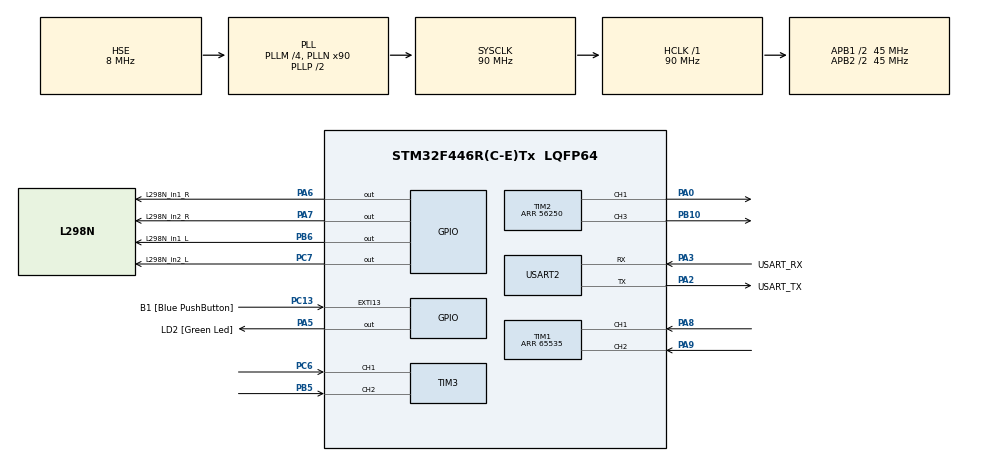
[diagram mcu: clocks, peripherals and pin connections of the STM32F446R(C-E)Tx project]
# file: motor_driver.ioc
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Mcu.Family=STM32F4
Mcu.Name=STM32F446R(C-E)Tx
Mcu.Package=LQFP64
NVIC.EXTI15_10_IRQn=true\:0\:0\:false\:false\:true\:true\:true\:true
NVIC.PriorityGroup=NVIC_PRIORITYGROUP_0
NVIC.TIM6_DAC_IRQn=true\:0\:0\:false\:false\:true\:true\:true\:true
NVIC.USART2_IRQn=true\:0\:0\:false\:false\:true\:true\:true\:true
PA0-WKUP.Signal=S_TIM2_CH1_ETR
PA13.GPIO_Label=TMS
PA13.Mode=Serial_Wire
PA13.Signal=SYS_JTMS-SWDIO
PA14.GPIO_Label=TCK
PA14.Mode=Serial_Wire
PA14.Signal=SYS_JTCK-SWCLK
PA2.GPIO_Label=USART_TX
PA2.Mode=Asynchronous
PA2.Signal=USART2_TX
PA3.GPIO_Label=USART_RX
PA3.Mode=Asynchronous
PA3.Signal=USART2_RX
PA5.GPIO_Label=LD2 [Green Led]
PA5.Signal=GPIO_Output
PA6.GPIO_Label=L298N_in1_R
PA6.PinState=GPIO_PIN_SET
PA6.Signal=GPIO_Output
PA7.GPIO_Label=L298N_in2_R
PA7.Signal=GPIO_Output
PA8.Signal=S_TIM1_CH1
PA9.Signal=S_TIM1_CH2
PB10.Signal=S_TIM2_CH3
PB3.GPIO_Label=SWO
PB3.Signal=SYS_JTDO-SWO
PB5.Signal=S_TIM3_CH2
PB6.GPIO_Label=L298N_in1_L
PB6.PinState=GPIO_PIN_SET
PB6.Signal=GPIO_Output
PC13.GPIO_Label=B1 [Blue PushButton]
PC13.GPIO_ModeDefaultEXTI=GPIO_MODE_IT_FALLING
PC13.Signal=GPXTI13
PC14-OSC32_IN.Mode=LSE-External-Oscillator
PC14-OSC32_IN.Signal=RCC_OSC32_IN
PC15-OSC32_OUT.Mode=LSE-External-Oscillator
PC15-OSC32_OUT.Signal=RCC_OSC32_OUT
PC6.Signal=S_TIM3_CH1
PC7.GPIO_Label=L298N_in2_L
PC7.Signal=GPIO_Output
PH0-OSC_IN.Mode=HSE-External-Oscillator
PH0-OSC_IN.Signal=RCC_OSC_IN
PH1-OSC_OUT.Mode=HSE-External-Oscillator
PH1-OSC_OUT.Signal=RCC_OSC_OUT
ProjectManager.HeapSize=0x200
ProjectManager.StackSize=0x400
ProjectManager.TargetToolchain=STM32CubeIDE
RCC.48MHZClocksFreq_Value=84000000
RCC.AHBFreq_Value=90000000
RCC.APB1CLKDivider=RCC_HCLK_DIV2
RCC.APB1Freq_Value=45000000
RCC.APB1TimFreq_Value=90000000
RCC.APB2CLKDivider=RCC_HCLK_DIV2
RCC.APB2Freq_Value=45000000
RCC.APB2TimFreq_Value=90000000
RCC.CortexFreq_Value=90000000
RCC.FLatency-AdvancedSettings=FLASH_LATENCY_2
RCC.HCLKFreq_Value=90000000
RCC.HSE_VALUE=8000000
RCC.HSI_VALUE=16000000
RCC.PLLM=4
RCC.PLLN=90
RCC.PLLSourceVirtual=RCC_PLLSOURCE_HSE
RCC.SYSCLKFreq_VALUE=90000000
RCC.SYSCLKSource=RCC_SYSCLKSOURCE_PLLCLK
RCC.USBFreq_Value=90000000
RCC.VCOOutputFreq_Value=180000000
SH.S_TIM1_CH1.0=TIM1_CH1,Encoder_Interface
SH.S_TIM1_CH2.0=TIM1_CH2,Encoder_Interface
SH.S_TIM2_CH1_ETR.0=TIM2_CH1,PWM Generation1 CH1
SH.S_TIM2_CH3.0=TIM2_CH3,PWM Generation3 CH3
SH.S_TIM3_CH1.0=TIM3_CH1,Encoder_Interface
SH.S_TIM3_CH2.0=TIM3_CH2,Encoder_Interface
TIM1.EncoderMode=TIM_ENCODERMODE_TI12
TIM1.Period=65535
TIM2.Channel-PWM\ Generation1\ CH1=TIM_CHANNEL_1
TIM2.Channel-PWM\ Generation3\ CH3=TIM_CHANNEL_3
TIM2.CounterMode=TIM_COUNTERMODE_CENTERALIGNED1
TIM2.OC3Preload_PWM=DISABLE
TIM2.Period=56250
TIM2.Pulse-PWM\ Generation3\ CH3=3000000000
TIM6.Period=449
TIM6.Prescaler=9999
USART2.VirtualMode=VM_ASYNC
VP_TIM6_VS_ClockSourceINT.Mode=Enable_Timer
board=NUCLEO-F446RE

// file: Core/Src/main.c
/* USER CODE BEGIN Header */
/**
  ******************************************************************************
  * @file           : main.c
  * @brief          : Main program body
  ******************************************************************************
  * @attention
  *
  * Copyright (c) 2026 STMicroelectronics.
  * All rights reserved.
  *
  * This software is licensed under terms that can be found in the LICENSE file
  * in the root directory of this software component.
  * If no LICENSE file comes with this software, it is provided AS-IS.
  *
  ******************************************************************************
  */
/* USER CODE END Header */
#include "main.h"
#include "tim.h"
#include "usart.h"
#include "gpio.h"

/* USER CODE BEGIN PV */
char byte_rx; //received byte
char buff[BUFFER_SIZE]; //buffer for storing the message
char msg[32]; //msg to transmit

uint8_t idx = 0; // index for cycling the buffer

float velocity_rads_r;
float velocity_rads_l;
float pos_rad_r;
float pos_rad_l;

float vel_ref_r;
float vel_ref_l;

float cmd_r;
float cmd_l;

L298N_t motor_r;
Encoder_t encoder_r;
pid_t pid_r;
L298N_t motor_l;
Encoder_t encoder_l;
//pid_t pid_l;
/* USER CODE END PV */

void SystemClock_Config(void);

int main(void)
{

  /* MCU Configuration--------------------------------------------------------*/

  /* Reset of all peripherals, Initializes the Flash interface and the Systick. */
    HAL_Init();

  /* Configure the system clock */
  SystemClock_Config();

  /* USER CODE BEGI2N SysInit */

  /* USER CODE END SysInit */

  /* Initialize all configured peripherals */
  MX_GPIO_Init();
  MX_TIM2_Init();
  MX_TIM6_Init();
  MX_USART2_UART_Init();
  MX_TIM1_Init();
  MX_TIM3_Init();
  /* USER CODE BEGIN 2 */

  /*MOTOR DRIVER*/
  driverInit(&motor_r, &htim2, TIM_CHANNEL_3, L298N_in1_R_Pin, L298N_in2_R_Pin, L298N_in1_R_GPIO_Port, L298N_in2_R_GPIO_Port);
  //driverInit(&motor_l, &htim2, TIM_CHANNEL_1, L298N_in1_L_Pin, L298N_in2_L_Pin, L298N_in1_L_GPIO_Port, L298N_in2_L_GPIO_Port);

  /*ENCODER*/
  encoder_init(&encoder_r, &htim1, ENCODER_RES_4, 11);
  //encoder_init(&encoder_l, &htim3, ENCODER_RES_4, 11);

  /*CONTROLLER PID*/
  pid_create(&pid_r, &velocity_rads_r, &cmd_r, &vel_ref_r, 0.055, 0.22, 0.00755);
  pid_auto(&pid_r);
  pid_limits(&pid_r, -1.0, 1.0);
  pid_direction(&pid_r, E_PID_DIRECT);

  /*SERIAL*/
  HAL_TIM_Base_Start_IT(&htim6);
  HAL_UART_Receive_IT(&huart2, &byte_rx, 1);

  /* USER CODE END 2 */

  /* Infinite loop */
  while (1)
  {

  }
}

void SystemClock_Config(void)
{
  RCC_OscInitTypeDef RCC_OscInitStruct = {0};
  RCC_ClkInitTypeDef RCC_ClkInitStruct = {0};

  /** Configure the main internal regulator output voltage
  */
  __HAL_RCC_PWR_CLK_ENABLE();
  __HAL_PWR_VOLTAGESCALING_CONFIG(PWR_REGULATOR_VOLTAGE_SCALE3);

  /** Initializes the RCC Oscillators according to the specified parameters
  * in the RCC_OscInitTypeDef structure.
  */
  RCC_OscInitStruct.OscillatorType = RCC_OSCILLATORTYPE_HSE;
  RCC_OscInitStruct.HSEState = RCC_HSE_ON;
  RCC_OscInitStruct.PLL.PLLState = RCC_PLL_ON;
  RCC_OscInitStruct.PLL.PLLSource = RCC_PLLSOURCE_HSE;
  RCC_OscInitStruct.PLL.PLLM = 4;
  RCC_OscInitStruct.PLL.PLLN = 90;
  RCC_OscInitStruct.PLL.PLLP = RCC_PLLP_DIV2;
  RCC_OscInitStruct.PLL.PLLQ = 2;
  RCC_OscInitStruct.PLL.PLLR = 2;
  if (HAL_RCC_OscConfig(&RCC_OscInitStruct) != HAL_OK)
  {
    Error_Handler();
  }

  /** Initializes the CPU, AHB and APB buses clocks
  */
  RCC_ClkInitStruct.ClockType = RCC_CLOCKTYPE_HCLK|RCC_CLOCKTYPE_SYSCLK
                              |RCC_CLOCKTYPE_PCLK1|RCC_CLOCKTYPE_PCLK2;
  RCC_ClkInitStruct.SYSCLKSource = RCC_SYSCLKSOURCE_PLLCLK;
  RCC_ClkInitStruct.AHBCLKDivider = RCC_SYSCLK_DIV1;
  RCC_ClkInitStruct.APB1CLKDivider = RCC_HCLK_DIV2;
  RCC_ClkInitStruct.APB2CLKDivider = RCC_HCLK_DIV2;

  if (HAL_RCC_ClockConfig(&RCC_ClkInitStruct, FLASH_LATENCY_2) != HAL_OK)
  {
    Error_Handler();
  }
}

void Error_Handler(void)
{
  __disable_irq();
  while (1)
  {
  }
}
